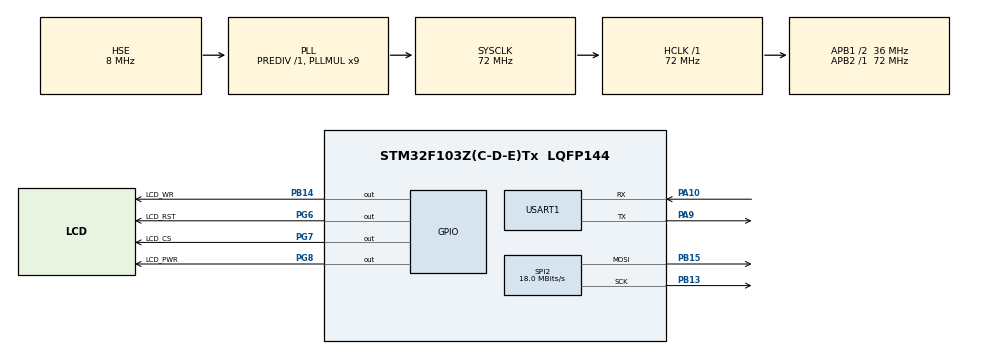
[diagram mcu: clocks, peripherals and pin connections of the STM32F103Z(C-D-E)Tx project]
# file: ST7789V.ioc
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Dma.Request0=SPI2_TX
Dma.SPI2_TX.0.Direction=DMA_MEMORY_TO_PERIPH
Dma.SPI2_TX.0.Instance=DMA1_Channel5
Dma.SPI2_TX.0.MemDataAlignment=DMA_MDATAALIGN_BYTE
Dma.SPI2_TX.0.MemInc=DMA_MINC_ENABLE
Dma.SPI2_TX.0.Mode=DMA_NORMAL
Dma.SPI2_TX.0.PeriphDataAlignment=DMA_PDATAALIGN_BYTE
Dma.SPI2_TX.0.PeriphInc=DMA_PINC_DISABLE
Dma.SPI2_TX.0.Priority=DMA_PRIORITY_LOW
Mcu.Family=STM32F1
Mcu.Name=STM32F103Z(C-D-E)Tx
Mcu.Package=LQFP144
NVIC.DMA1_Channel5_IRQn=true\:1\:0\:true\:false\:true\:false\:true
NVIC.PriorityGroup=NVIC_PRIORITYGROUP_4
NVIC.SPI2_IRQn=true\:0\:0\:false\:false\:true\:true\:true
NVIC.TIM6_IRQn=true\:0\:0\:false\:false\:true\:true\:true
OSC_IN.Mode=HSE-External-Oscillator
OSC_IN.Signal=RCC_OSC_IN
OSC_OUT.Mode=HSE-External-Oscillator
OSC_OUT.Signal=RCC_OSC_OUT
PA10.Mode=Asynchronous
PA10.Signal=USART1_RX
PA9.Mode=Asynchronous
PA9.Signal=USART1_TX
PB13.Mode=TX_Only_Simplex_Unidirect_Master
PB13.Signal=SPI2_SCK
PB14.GPIO_Label=LCD_WR
PB14.GPIO_Speed=GPIO_SPEED_FREQ_HIGH
PB14.PinState=GPIO_PIN_SET
PB14.Signal=GPIO_Output
PB15.Mode=TX_Only_Simplex_Unidirect_Master
PB15.Signal=SPI2_MOSI
PG6.GPIO_Label=LCD_RST
PG6.GPIO_Speed=GPIO_SPEED_FREQ_HIGH
PG6.PinState=GPIO_PIN_SET
PG6.Signal=GPIO_Output
PG7.GPIO_Label=LCD_CS
PG7.GPIO_Speed=GPIO_SPEED_FREQ_HIGH
PG7.PinState=GPIO_PIN_SET
PG7.Signal=GPIO_Output
PG8.GPIO_Label=LCD_PWR
PG8.GPIO_Speed=GPIO_SPEED_FREQ_HIGH
PG8.PinState=GPIO_PIN_SET
PG8.Signal=GPIO_Output
ProjectManager.HeapSize=0x200
ProjectManager.StackSize=0x400
ProjectManager.TargetToolchain=MDK-ARM V5.27
RCC.AHBFreq_Value=72000000
RCC.APB1CLKDivider=RCC_HCLK_DIV2
RCC.APB1Freq_Value=36000000
RCC.APB1TimFreq_Value=72000000
RCC.APB2Freq_Value=72000000
RCC.APB2TimFreq_Value=72000000
RCC.HCLKFreq_Value=72000000
RCC.PLLMUL=RCC_PLL_MUL9
RCC.PLLSourceVirtual=RCC_PLLSOURCE_HSE
RCC.SYSCLKFreq_VALUE=72000000
RCC.SYSCLKSource=RCC_SYSCLKSOURCE_PLLCLK
RCC.USBFreq_Value=72000000
SPI2.BaudRatePrescaler=SPI_BAUDRATEPRESCALER_2
SPI2.CalculateBaudRate=18.0 MBits/s
SPI2.Direction=SPI_DIRECTION_2LINES
SPI2.Mode=SPI_MODE_MASTER
SPI2.VirtualType=VM_MASTER
TIM6.AutoReloadPreload=TIM_AUTORELOAD_PRELOAD_DISABLE
TIM6.Period=1000
TIM6.Prescaler=71
USART1.VirtualMode=VM_ASYNC
VP_SYS_VS_ND.Mode=No_Debug
VP_TIM6_VS_ClockSourceINT.Mode=Enable_Timer
board=custom

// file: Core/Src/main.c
/* USER CODE BEGIN Header */
/**
  ******************************************************************************
  * @file           : main.c
  * @brief          : Main program body
  ******************************************************************************
  * @attention
  *
  * <h2><center>&copy; Copyright (c) 2021 STMicroelectronics.
  * All rights reserved.</center></h2>
  *
  * This software component is licensed by ST under BSD 3-Clause license,
  * the "License"; You may not use this file except in compliance with the
  * License. You may obtain a copy of the License at:
  *                        opensource.org/licenses/BSD-3-Clause
  *
  ******************************************************************************
  */
/* USER CODE END Header */
#include "main.h"

/* USER CODE BEGIN Includes */
#include "debug.h"
#include "tftlcd.h"
#include "lvgl.h"
#include "lv_port_disp.h"
#include "Gui_Test.h"

/* USER CODE END Includes */

SPI_HandleTypeDef hspi2;
DMA_HandleTypeDef hdma_spi2_tx;

TIM_HandleTypeDef htim6;

UART_HandleTypeDef huart1;

/* USER CODE END PV */

void SystemClock_Config(void);
static void MX_GPIO_Init(void);
static void MX_DMA_Init(void);
static void MX_SPI2_Init(void);
static void MX_USART1_UART_Init(void);
static void MX_TIM6_Init(void);

/* USER CODE BEGIN 0 */
void HAL_TIM_PeriodElapsedCallback(TIM_HandleTypeDef* htim)//lvgl heart beat!!
{
    if(htim == (&htim6))
    {
        lv_tick_inc(1);
    }
}
/* USER CODE END 0 */
extern lv_obj_t* tabview1;
int main(void)
{

    /* MCU Configuration--------------------------------------------------------*/

    /* Reset of all peripherals, Initializes the Flash interface and the Systick. */
    HAL_Init();

    /* Configure the system clock */
    SystemClock_Config();

    /* Initialize all configured peripherals */
    MX_GPIO_Init();
	HAL_Delay(500);
    MX_DMA_Init();
	HAL_Delay(1000);
    MX_SPI2_Init();
	HAL_Delay(1000);
    MX_USART1_UART_Init();
    MX_TIM6_Init();
    /* USER CODE BEGIN 2 */
    HAL_TIM_Base_Start_IT(&htim6);
	LCD_Init();
	lv_init();
	lv_port_disp_init();
	HAL_Delay(1000);

    /* USER CODE END 2 */

    /* Infinite loop */
    /* USER CODE BEGIN WHILE */
	example_test();
	u16 page_id = 0;
    while(1)
    {
		page_id++;
        if(page_id == 3)
            page_id = 0;
        lv_tabview_set_tab_act(tabview1, page_id, LV_ANIM_ON);
		lv_task_handler();

		HAL_Delay(1000);
		HAL_Delay(1000);
		HAL_Delay(1000);

        /* USER CODE END WHILE */

    }
}

void SystemClock_Config(void)
{
    RCC_OscInitTypeDef RCC_OscInitStruct = {0};
    RCC_ClkInitTypeDef RCC_ClkInitStruct = {0};

    /** Initializes the RCC Oscillators according to the specified parameters
    * in the RCC_OscInitTypeDef structure.
    */
    RCC_OscInitStruct.OscillatorType = RCC_OSCILLATORTYPE_HSE;
    RCC_OscInitStruct.HSEState = RCC_HSE_ON;
    RCC_OscInitStruct.HSEPredivValue = RCC_HSE_PREDIV_DIV1;
    RCC_OscInitStruct.HSIState = RCC_HSI_ON;
    RCC_OscInitStruct.PLL.PLLState = RCC_PLL_ON;
    RCC_OscInitStruct.PLL.PLLSource = RCC_PLLSOURCE_HSE;
    RCC_OscInitStruct.PLL.PLLMUL = RCC_PLL_MUL9;
    if(HAL_RCC_OscConfig(&RCC_OscInitStruct) != HAL_OK)
    {
        Error_Handler();
    }
    /** Initializes the CPU, AHB and APB buses clocks
    */
    RCC_ClkInitStruct.ClockType = RCC_CLOCKTYPE_HCLK | RCC_CLOCKTYPE_SYSCLK
                                  | RCC_CLOCKTYPE_PCLK1 | RCC_CLOCKTYPE_PCLK2;
    RCC_ClkInitStruct.SYSCLKSource = RCC_SYSCLKSOURCE_PLLCLK;
    RCC_ClkInitStruct.AHBCLKDivider = RCC_SYSCLK_DIV1;
    RCC_ClkInitStruct.APB1CLKDivider = RCC_HCLK_DIV2;
    RCC_ClkInitStruct.APB2CLKDivider = RCC_HCLK_DIV1;

    if(HAL_RCC_ClockConfig(&RCC_ClkInitStruct, FLASH_LATENCY_2) != HAL_OK)
    {
        Error_Handler();
    }
}

static void MX_SPI2_Init(void)
{

    /* SPI2 parameter configuration*/
    hspi2.Instance = SPI2;
    hspi2.Init.Mode = SPI_MODE_MASTER;
    hspi2.Init.Direction = SPI_DIRECTION_2LINES;
    hspi2.Init.DataSize = SPI_DATASIZE_8BIT;
    hspi2.Init.CLKPolarity = SPI_POLARITY_LOW;
    hspi2.Init.CLKPhase = SPI_PHASE_1EDGE;
    hspi2.Init.NSS = SPI_NSS_SOFT;
    hspi2.Init.BaudRatePrescaler = SPI_BAUDRATEPRESCALER_2;
    hspi2.Init.FirstBit = SPI_FIRSTBIT_MSB;
    hspi2.Init.TIMode = SPI_TIMODE_DISABLE;
    hspi2.Init.CRCCalculation = SPI_CRCCALCULATION_DISABLE;
    hspi2.Init.CRCPolynomial = 10;
    if(HAL_SPI_Init(&hspi2) != HAL_OK)
    {
        Error_Handler();
    }

}

static void MX_TIM6_Init(void)
{

    TIM_MasterConfigTypeDef sMasterConfig = {0};

    htim6.Instance = TIM6;
    htim6.Init.Prescaler = 71;
    htim6.Init.CounterMode = TIM_COUNTERMODE_UP;
    htim6.Init.Period = 999;
    htim6.Init.AutoReloadPreload = TIM_AUTORELOAD_PRELOAD_DISABLE;
    if(HAL_TIM_Base_Init(&htim6) != HAL_OK)
    {
        Error_Handler();
    }
    sMasterConfig.MasterOutputTrigger = TIM_TRGO_RESET;
    sMasterConfig.MasterSlaveMode = TIM_MASTERSLAVEMODE_DISABLE;
    if(HAL_TIMEx_MasterConfigSynchronization(&htim6, &sMasterConfig) != HAL_OK)
    {
        Error_Handler();
    }

}

static void MX_USART1_UART_Init(void)
{

    huart1.Instance = USART1;
    huart1.Init.BaudRate = 115200;
    huart1.Init.WordLength = UART_WORDLENGTH_8B;
    huart1.Init.StopBits = UART_STOPBITS_1;
    huart1.Init.Parity = UART_PARITY_NONE;
    huart1.Init.Mode = UART_MODE_TX_RX;
    huart1.Init.HwFlowCtl = UART_HWCONTROL_NONE;
    huart1.Init.OverSampling = UART_OVERSAMPLING_16;
    if(HAL_UART_Init(&huart1) != HAL_OK)
    {
        Error_Handler();
    }

}

static void MX_DMA_Init(void)
{

    /* DMA controller clock enable */
    __HAL_RCC_DMA1_CLK_ENABLE();

    /* DMA interrupt init */
    /* DMA1_Channel5_IRQn interrupt configuration */
    HAL_NVIC_SetPriority(DMA1_Channel5_IRQn, 1, 0);
    HAL_NVIC_EnableIRQ(DMA1_Channel5_IRQn);

}

static void MX_GPIO_Init(void)
{
    GPIO_InitTypeDef GPIO_InitStruct = {0};

    /* GPIO Ports Clock Enable */
    __HAL_RCC_GPIOB_CLK_ENABLE();
    __HAL_RCC_GPIOG_CLK_ENABLE();
    __HAL_RCC_GPIOA_CLK_ENABLE();

    /*Configure GPIO pin Output Level */
    HAL_GPIO_WritePin(LCD_WR_GPIO_Port, LCD_WR_Pin, GPIO_PIN_SET);

    /*Configure GPIO pin Output Level */
    HAL_GPIO_WritePin(GPIOG, LCD_RST_Pin | LCD_CS_Pin | LCD_PWR_Pin, GPIO_PIN_SET);

    /*Configure GPIO pin : LCD_WR_Pin */
    GPIO_InitStruct.Pin = LCD_WR_Pin;
    GPIO_InitStruct.Mode = GPIO_MODE_OUTPUT_PP;
    GPIO_InitStruct.Pull = GPIO_NOPULL;
    GPIO_InitStruct.Speed = GPIO_SPEED_FREQ_HIGH;
    HAL_GPIO_Init(LCD_WR_GPIO_Port, &GPIO_InitStruct);

    /*Configure GPIO pins : LCD_RST_Pin LCD_CS_Pin LCD_PWR_Pin */
    GPIO_InitStruct.Pin = LCD_RST_Pin | LCD_CS_Pin | LCD_PWR_Pin;
    GPIO_InitStruct.Mode = GPIO_MODE_OUTPUT_PP;
    GPIO_InitStruct.Pull = GPIO_NOPULL;
    GPIO_InitStruct.Speed = GPIO_SPEED_FREQ_HIGH;
    HAL_GPIO_Init(GPIOG, &GPIO_InitStruct);

}

void Error_Handler(void)
{
    __disable_irq();
    while(1)
    {
    }
}

/************************ (C) COPYRIGHT STMicroelectronics *****END OF FILE****/
